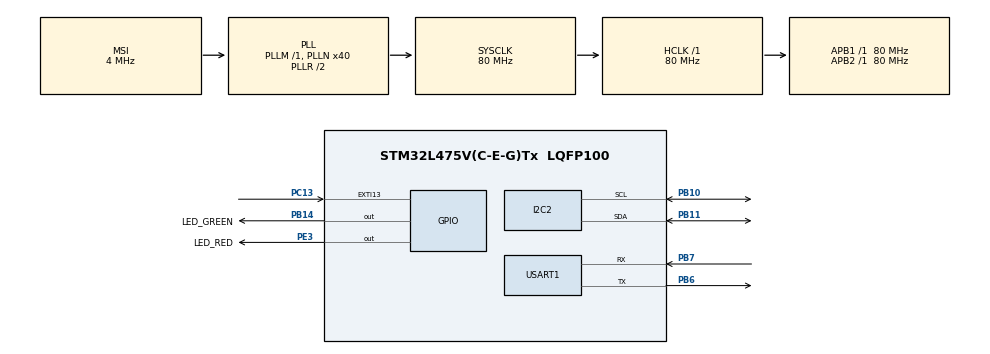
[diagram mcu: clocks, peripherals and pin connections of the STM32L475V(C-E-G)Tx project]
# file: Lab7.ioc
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Mcu.Family=STM32L4
RCC.MSI_VALUE=4000000
RCC.CortexFreq_Value=80000000
PB10.Mode=I2C
PC13.Signal=GPXTI13
PB14.GPIO_Label=LED_GREEN
I2C2.Timing=0x10909CEC
PB11.Signal=I2C2_SDA
RCC.SYSCLKSource=RCC_SYSCLKSOURCE_PLLCLK
ProjectManager.StackSize=0x400
USART1.VirtualMode-Asynchronous=VM_ASYNC
PB11.Mode=I2C
ProjectManager.TargetToolchain=STM32CubeIDE
RCC.HCLKFreq_Value=80000000
RCC.APB2TimFreq_Value=80000000
PB6.Signal=USART1_TX
PB6.Mode=Asynchronous
RCC.USBFreq_Value=48000000
RCC.LSE_VALUE=32768
RCC.AHBFreq_Value=80000000
PE3.PinState=GPIO_PIN_SET
PB10.Signal=I2C2_SCL
NVIC.EXTI15_10_IRQn=true\:0\:0\:false\:false\:true\:true\:true
PB14.Signal=GPIO_Output
RCC.HSE_VALUE=8000000
board=B-L475E-IOT01A1
RCC.VCOOutputFreq_Value=160000000
RCC.APB2Freq_Value=80000000
RCC.ADCFreq_Value=48000000
PB7.Signal=USART1_RX
Mcu.Name=STM32L475V(C-E-G)Tx
RCC.SYSCLKFreq_VALUE=80000000
Mcu.Package=LQFP100
PB7.Mode=Asynchronous
ProjectManager.HeapSize=0x200
RCC.HSI_VALUE=16000000
NVIC.PriorityGroup=NVIC_PRIORITYGROUP_4
RCC.PLLN=40
RCC.APB1TimFreq_Value=80000000
PE3.Signal=GPIO_Output
PE3.GPIO_Label=LED_RED
RCC.APB1Freq_Value=80000000
RCC.PLLSAI1N=24

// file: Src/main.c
/* USER CODE BEGIN Header */
/**
  ******************************************************************************
  * @file           : main.c
  * @brief          : Main program body
  ******************************************************************************
  * @attention
  *
  * <h2><center>&copy; Copyright (c) 2020 STMicroelectronics.
  * All rights reserved.</center></h2>
  *
  * This software component is licensed by ST under BSD 3-Clause license,
  * the "License"; You may not use this file except in compliance with the
  * License. You may obtain a copy of the License at:
  *                        opensource.org/licenses/BSD-3-Clause
  *
  ******************************************************************************
  */
/* USER CODE END Header */
#include "main.h"

/* USER CODE BEGIN Includes */
#include "string.h"
#include "stm32l475e_iot01.h"
#include "stm32l475e_iot01_tsensor.h"
#include "stm32l475e_iot01_magneto.h"
#include "stm32l475e_iot01_accelero.h"
#include "stm32l475e_iot01_psensor.h"
#include "stm32l475e_iot01_hsensor.h"
#include "stm32l475e_iot01_gyro.h"

/* USER CODE END Includes */

I2C_HandleTypeDef hi2c2;

UART_HandleTypeDef huart1;

void SystemClock_Config(void);
static void MX_GPIO_Init(void);
static void MX_I2C2_Init(void);
static void MX_USART1_UART_Init(void);

/* USER CODE BEGIN 0 */

int sensorType = 0;
char buffer[100] = {0};

/* USER CODE END 0 */

int main(void)
{

  /* MCU Configuration--------------------------------------------------------*/

  /* Reset of all peripherals, Initializes the Flash interface and the Systick. */
  HAL_Init();

  /* Configure the system clock */
  SystemClock_Config();

  /* Initialize all configured peripherals */
  MX_GPIO_Init();
  MX_I2C2_Init();
  MX_USART1_UART_Init();
  /* USER CODE BEGIN 2 */

  /*initialization of temperature sensor, magenetometer, accelerometer and barometer*/

  BSP_TSENSOR_Init();
  BSP_HSENSOR_Init();
  BSP_MAGNETO_Init();
  BSP_MAGNETO_LowPower(1);
  BSP_ACCELERO_Init();
  BSP_ACCELERO_LowPower(1);
  BSP_GYRO_Init();
  //BSP_GYRO_LowPower(1);
  BSP_PSENSOR_Init();

  float temp = 0;
  float humidity = 0;
  int16_t magnetic[3] = {0};
  float acceleration[3] = {0};
  float gyro[3] = {0};

  float pressure = 0;

  /*initialization of str to be sent*/
  char tBuff[20];

  char MxBuff[60];
  char MyBuff[20];
  char MzBuff[20];

  char AxBuff[60];
  char AyBuff[20];
  char AzBuff[20];

  char GxBuff[60];
  char GyBuff[20];
  char GzBuff[20];
  char pBuff[20];
  /* USER CODE END 2 */

  /* Infinite loop */
  while (1)
  {
	//Display
	if(sensorType == 0){
		//temp = BSP_TSENSOR_ReadTemp();
		humidity = BSP_HSENSOR_ReadHumidity();
		sprintf(tBuff, "The measured humidity: %d \n", (int16_t) humidity);
		//sprintf(tBuff, "The measured temperature is: %d   ", (int16_t) temp);
		memset(buffer, 0, strlen(buffer));
		strcat(buffer, tBuff);
	}
	else if(sensorType == 1){
		//Get XYZ magnetometer values.
		BSP_MAGNETO_GetXYZ(magnetic);
		sprintf(MxBuff, "Magn X is:%d ",  magnetic[0]);
		sprintf(MyBuff, "Magn Y is:%d ",  magnetic[1]);
		sprintf(MzBuff, "Magn Z is:%d \n", magnetic[2]);
		memset(buffer, 0, strlen(buffer));
		strcat(buffer, MxBuff);
		strcat(buffer, MyBuff);
		strcat(buffer, MzBuff);
	}
	else if(sensorType == 2){
		//Get XYZ acceleration values.
		/*
		BSP_ACCELERO_AccGetXYZ(acceleration);
		sprintf(AxBuff, "Acc X is:%d ", (int) acceleration[0]);
		sprintf(AyBuff, "Acc Y is:%d ", (int) acceleration[1]);
		sprintf(AzBuff, "Acc Z is:%d  ", (int) acceleration[2]);
		memset(buffer, 0, strlen(buffer));
		strcat(buffer, AxBuff);
		strcat(buffer, AyBuff);
		strcat(buffer, AzBuff);
		*/
		BSP_GYRO_GetXYZ(gyro);
		sprintf(GxBuff, "Gyro X is:%d ", (int16_t) gyro[0]);
		sprintf(GyBuff, "Gyro Y is:%d ", (int16_t) gyro[1]);
		sprintf(GzBuff, "Gyro Z is:%d \n", (int16_t) gyro[2]);
		memset(buffer, 0, strlen(buffer));
		strcat(buffer, GxBuff);
		strcat(buffer, GyBuff);
		strcat(buffer, GzBuff);

	}
	else if(sensorType == 3){
		//Read Pressure register of LPS22HB.
		pressure = BSP_PSENSOR_ReadPressure();
		sprintf(pBuff, "The measured Pressure is: %d \n", (int16_t) pressure);
		memset(buffer, 0, strlen(pBuff));
		strcat(buffer, pBuff);
	}

	HAL_UART_Transmit(&huart1, (uint8_t *) buffer, (uint16_t) strlen(buffer), 30000);

	HAL_Delay(100);
  }
}

void SystemClock_Config(void)
{
  RCC_OscInitTypeDef RCC_OscInitStruct = {0};
  RCC_ClkInitTypeDef RCC_ClkInitStruct = {0};
  RCC_PeriphCLKInitTypeDef PeriphClkInit = {0};

  /** Initializes the RCC Oscillators according to the specified parameters
  * in the RCC_OscInitTypeDef structure.
  */
  RCC_OscInitStruct.OscillatorType = RCC_OSCILLATORTYPE_MSI;
  RCC_OscInitStruct.MSIState = RCC_MSI_ON;
  RCC_OscInitStruct.MSICalibrationValue = 0;
  RCC_OscInitStruct.MSIClockRange = RCC_MSIRANGE_6;
  RCC_OscInitStruct.PLL.PLLState = RCC_PLL_ON;
  RCC_OscInitStruct.PLL.PLLSource = RCC_PLLSOURCE_MSI;
  RCC_OscInitStruct.PLL.PLLM = 1;
  RCC_OscInitStruct.PLL.PLLN = 40;
  RCC_OscInitStruct.PLL.PLLP = RCC_PLLP_DIV7;
  RCC_OscInitStruct.PLL.PLLQ = RCC_PLLQ_DIV2;
  RCC_OscInitStruct.PLL.PLLR = RCC_PLLR_DIV2;
  if (HAL_RCC_OscConfig(&RCC_OscInitStruct) != HAL_OK)
  {
    Error_Handler();
  }
  /** Initializes the CPU, AHB and APB buses clocks
  */
  RCC_ClkInitStruct.ClockType = RCC_CLOCKTYPE_HCLK|RCC_CLOCKTYPE_SYSCLK
                              |RCC_CLOCKTYPE_PCLK1|RCC_CLOCKTYPE_PCLK2;
  RCC_ClkInitStruct.SYSCLKSource = RCC_SYSCLKSOURCE_PLLCLK;
  RCC_ClkInitStruct.AHBCLKDivider = RCC_SYSCLK_DIV1;
  RCC_ClkInitStruct.APB1CLKDivider = RCC_HCLK_DIV1;
  RCC_ClkInitStruct.APB2CLKDivider = RCC_HCLK_DIV1;

  if (HAL_RCC_ClockConfig(&RCC_ClkInitStruct, FLASH_LATENCY_4) != HAL_OK)
  {
    Error_Handler();
  }
  PeriphClkInit.PeriphClockSelection = RCC_PERIPHCLK_USART1|RCC_PERIPHCLK_I2C2;
  PeriphClkInit.Usart1ClockSelection = RCC_USART1CLKSOURCE_PCLK2;
  PeriphClkInit.I2c2ClockSelection = RCC_I2C2CLKSOURCE_PCLK1;
  if (HAL_RCCEx_PeriphCLKConfig(&PeriphClkInit) != HAL_OK)
  {
    Error_Handler();
  }
  /** Configure the main internal regulator output voltage
  */
  if (HAL_PWREx_ControlVoltageScaling(PWR_REGULATOR_VOLTAGE_SCALE1) != HAL_OK)
  {
    Error_Handler();
  }
}

static void MX_I2C2_Init(void)
{

  hi2c2.Instance = I2C2;
  hi2c2.Init.Timing = 0x10909CEC;
  hi2c2.Init.OwnAddress1 = 0;
  hi2c2.Init.AddressingMode = I2C_ADDRESSINGMODE_7BIT;
  hi2c2.Init.DualAddressMode = I2C_DUALADDRESS_DISABLE;
  hi2c2.Init.OwnAddress2 = 0;
  hi2c2.Init.OwnAddress2Masks = I2C_OA2_NOMASK;
  hi2c2.Init.GeneralCallMode = I2C_GENERALCALL_DISABLE;
  hi2c2.Init.NoStretchMode = I2C_NOSTRETCH_DISABLE;
  if (HAL_I2C_Init(&hi2c2) != HAL_OK)
  {
    Error_Handler();
  }
  /** Configure Analogue filter
  */
  if (HAL_I2CEx_ConfigAnalogFilter(&hi2c2, I2C_ANALOGFILTER_ENABLE) != HAL_OK)
  {
    Error_Handler();
  }
  /** Configure Digital filter
  */
  if (HAL_I2CEx_ConfigDigitalFilter(&hi2c2, 0) != HAL_OK)
  {
    Error_Handler();
  }

}

static void MX_USART1_UART_Init(void)
{

  huart1.Instance = USART1;
  huart1.Init.BaudRate = 115200;
  huart1.Init.WordLength = UART_WORDLENGTH_8B;
  huart1.Init.StopBits = UART_STOPBITS_1;
  huart1.Init.Parity = UART_PARITY_NONE;
  huart1.Init.Mode = UART_MODE_TX_RX;
  huart1.Init.HwFlowCtl = UART_HWCONTROL_NONE;
  huart1.Init.OverSampling = UART_OVERSAMPLING_16;
  huart1.Init.OneBitSampling = UART_ONE_BIT_SAMPLE_DISABLE;
  huart1.AdvancedInit.AdvFeatureInit = UART_ADVFEATURE_NO_INIT;
  if (HAL_UART_Init(&huart1) != HAL_OK)
  {
    Error_Handler();
  }

}

static void MX_GPIO_Init(void)
{
  GPIO_InitTypeDef GPIO_InitStruct = {0};

  /* GPIO Ports Clock Enable */
  __HAL_RCC_GPIOE_CLK_ENABLE();
  __HAL_RCC_GPIOC_CLK_ENABLE();
  __HAL_RCC_GPIOB_CLK_ENABLE();

  /*Configure GPIO pin Output Level */
  HAL_GPIO_WritePin(LED_RED_GPIO_Port, LED_RED_Pin, GPIO_PIN_SET);

  /*Configure GPIO pin Output Level */
  HAL_GPIO_WritePin(LED_GREEN_GPIO_Port, LED_GREEN_Pin, GPIO_PIN_RESET);

  /*Configure GPIO pin : LED_RED_Pin */
  GPIO_InitStruct.Pin = LED_RED_Pin;
  GPIO_InitStruct.Mode = GPIO_MODE_OUTPUT_PP;
  GPIO_InitStruct.Pull = GPIO_NOPULL;
  GPIO_InitStruct.Speed = GPIO_SPEED_FREQ_LOW;
  HAL_GPIO_Init(LED_RED_GPIO_Port, &GPIO_InitStruct);

  /*Configure GPIO pin : PC13 */
  GPIO_InitStruct.Pin = GPIO_PIN_13;
  GPIO_InitStruct.Mode = GPIO_MODE_IT_RISING;
  GPIO_InitStruct.Pull = GPIO_NOPULL;
  HAL_GPIO_Init(GPIOC, &GPIO_InitStruct);

  /*Configure GPIO pin : LED_GREEN_Pin */
  GPIO_InitStruct.Pin = LED_GREEN_Pin;
  GPIO_InitStruct.Mode = GPIO_MODE_OUTPUT_PP;
  GPIO_InitStruct.Pull = GPIO_NOPULL;
  GPIO_InitStruct.Speed = GPIO_SPEED_FREQ_LOW;
  HAL_GPIO_Init(LED_GREEN_GPIO_Port, &GPIO_InitStruct);

  /* EXTI interrupt init*/
  HAL_NVIC_SetPriority(EXTI15_10_IRQn, 0, 0);
  HAL_NVIC_EnableIRQ(EXTI15_10_IRQn);

}

/* USER CODE BEGIN 4 */
void HAL_GPIO_EXTI_Callback(uint16_t GPIO_PIN){
	if(GPIO_PIN == GPIO_PIN_13){
		sensorType ++;
		if(sensorType == 4){
			sensorType = 0;
		}
	}
}
/* USER CODE END 4 */

void Error_Handler(void)
{
}

/************************ (C) COPYRIGHT STMicroelectronics *****END OF FILE****/
